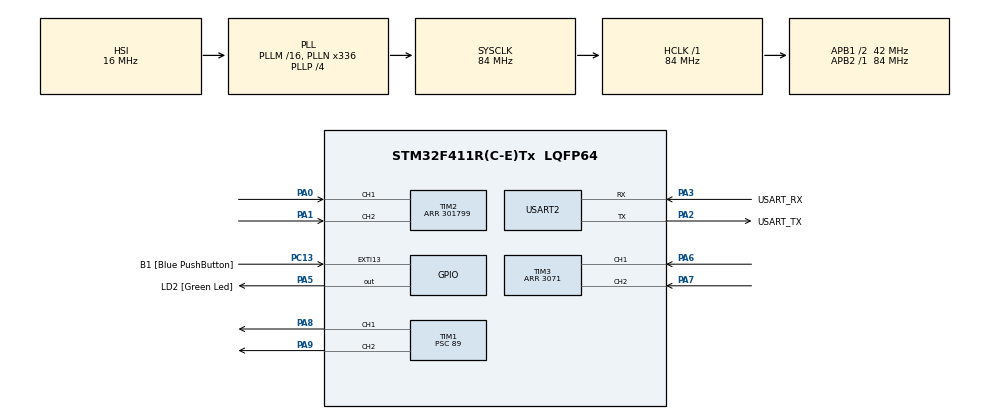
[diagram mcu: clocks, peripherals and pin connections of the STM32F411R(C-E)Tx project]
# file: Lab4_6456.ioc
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Mcu.Family=STM32F4
Mcu.Name=STM32F411R(C-E)Tx
Mcu.Package=LQFP64
Mcu.UserConstants=qei_period,64512
NVIC.PriorityGroup=NVIC_PRIORITYGROUP_0
PA0-WKUP.Signal=S_TIM2_CH1_ETR
PA1.Signal=S_TIM2_CH2
PA13.GPIO_Label=TMS
PA13.Mode=Trace_Asynchronous_SW
PA13.Signal=SYS_JTMS-SWDIO
PA14.GPIO_Label=TCK
PA14.Mode=Trace_Asynchronous_SW
PA14.Signal=SYS_JTCK-SWCLK
PA2.GPIO_Label=USART_TX
PA2.Mode=Asynchronous
PA2.Signal=USART2_TX
PA3.GPIO_Label=USART_RX
PA3.Mode=Asynchronous
PA3.Signal=USART2_RX
PA5.GPIO_Label=LD2 [Green Led]
PA5.Signal=GPIO_Output
PA6.Signal=S_TIM3_CH1
PA7.Signal=S_TIM3_CH2
PA8.Signal=S_TIM1_CH1
PA9.Signal=S_TIM1_CH2
PB3.GPIO_Label=SWO
PB3.Mode=Trace_Asynchronous_SW
PB3.Signal=SYS_JTDO-SWO
PC13-ANTI_TAMP.GPIO_Label=B1 [Blue PushButton]
PC13-ANTI_TAMP.GPIO_ModeDefaultEXTI=GPIO_MODE_IT_FALLING
PC13-ANTI_TAMP.Signal=GPXTI13
PC14-OSC32_IN.Mode=LSE-External-Oscillator
PC14-OSC32_IN.Signal=RCC_OSC32_IN
PC15-OSC32_OUT.Mode=LSE-External-Oscillator
PC15-OSC32_OUT.Signal=RCC_OSC32_OUT
PH0\ -\ OSC_IN.Mode=HSE-External-Clock-Source
PH0\ -\ OSC_IN.Signal=RCC_OSC_IN
PH1\ -\ OSC_OUT.Mode=HSE-External-Clock-Source
PH1\ -\ OSC_OUT.Signal=RCC_OSC_OUT
ProjectManager.HeapSize=0x200
ProjectManager.StackSize=0x400
ProjectManager.TargetToolchain=STM32CubeIDE
RCC.48MHZClocksFreq_Value=84000000
RCC.AHBFreq_Value=84000000
RCC.APB1CLKDivider=RCC_HCLK_DIV2
RCC.APB1Freq_Value=42000000
RCC.APB1TimFreq_Value=84000000
RCC.APB2Freq_Value=84000000
RCC.APB2TimFreq_Value=84000000
RCC.CortexFreq_Value=84000000
RCC.FLatency-AdvancedSettings=FLASH_LATENCY_2
RCC.HCLKFreq_Value=84000000
RCC.HSE_VALUE=8000000
RCC.HSI_VALUE=16000000
RCC.PLLN=336
RCC.PLLP=RCC_PLLP_DIV4
RCC.SYSCLKFreq_VALUE=84000000
RCC.SYSCLKSource=RCC_SYSCLKSOURCE_PLLCLK
RCC.VCOOutputFreq_Value=336000000
SH.S_TIM1_CH1.0=TIM1_CH1,PWM Generation1 CH1
SH.S_TIM1_CH2.0=TIM1_CH2,PWM Generation2 CH2
SH.S_TIM2_CH1_ETR.0=TIM2_CH1,Encoder_Interface
SH.S_TIM2_CH2.0=TIM2_CH2,Encoder_Interface
SH.S_TIM3_CH1.0=TIM3_CH1,Encoder_Interface
SH.S_TIM3_CH2.0=TIM3_CH2,Encoder_Interface
TIM1.Channel-PWM\ Generation1\ CH1=TIM_CHANNEL_1
TIM1.Channel-PWM\ Generation2\ CH2=TIM_CHANNEL_2
TIM1.Period=999
TIM1.Prescaler=89
TIM1.Pulse-PWM\ Generation1\ CH1=0
TIM1.Pulse-PWM\ Generation2\ CH2=500
TIM2.EncoderMode=TIM_ENCODERMODE_TI12
TIM2.Period=301799
TIM3.EncoderMode=TIM_ENCODERMODE_TI12
TIM3.Period=3071
USART2.VirtualMode=VM_ASYNC
VP_TIM1_VS_ClockSourceINT.Mode=Internal
board=NUCLEO-F411RE

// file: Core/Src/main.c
/* USER CODE BEGIN Header */
/**
  ******************************************************************************
  * @file           : main.c
  * @brief          : Main program body
  ******************************************************************************
  * @attention
  *
  * Copyright (c) 2023 STMicroelectronics.
  * All rights reserved.
  *
  * This software is licensed under terms that can be found in the LICENSE file
  * in the root directory of this software component.
  * If no LICENSE file comes with this software, it is provided AS-IS.
  *
  ******************************************************************************
  */
/* USER CODE END Header */
#include "main.h"

/* USER CODE BEGIN Includes */
#include "arm_math.h"
/* USER CODE END Includes */

TIM_HandleTypeDef htim1;
TIM_HandleTypeDef htim2;
TIM_HandleTypeDef htim3;

UART_HandleTypeDef huart2;

/* USER CODE BEGIN PV */
/*------------------ For PWM -----------------------*/
uint32_t PA8duty = 500;
uint32_t PA9duty = 500;
/*------------------ For QEI -----------------------*/
int32_t qeiread = 0;
int32_t post_qeiread = 0;
/*------------------For calculating -----------------------*/
float position;
float vcontrol;
float set_position;
/*------------------Set PID -----------------------*/
arm_pid_instance_f32 PID = {0};

/* USER CODE END PV */

void SystemClock_Config(void);
static void MX_GPIO_Init(void);
static void MX_USART2_UART_Init(void);
static void MX_TIM1_Init(void);
static void MX_TIM2_Init(void);
static void MX_TIM3_Init(void);

int main(void)
{

  /* MCU Configuration--------------------------------------------------------*/

  /* Reset of all peripherals, Initializes the Flash interface and the Systick. */
  HAL_Init();

  /* Configure the system clock */
  SystemClock_Config();

  /* Initialize all configured peripherals */
  MX_GPIO_Init();
  MX_USART2_UART_Init();
  MX_TIM1_Init();
  MX_TIM2_Init();
  MX_TIM3_Init();
  /* USER CODE BEGIN 2 */
/*------------------Start timer1 as pwm-----------------------*/
  HAL_TIM_Base_Start(&htim1);
  HAL_TIM_PWM_Start(&htim1, TIM_CHANNEL_1);
  HAL_TIM_PWM_Start(&htim1, TIM_CHANNEL_2);

/*------------------Start time2 QEIs -----------------------*/
  HAL_TIM_Encoder_Start(&htim2, TIM_CHANNEL_1|TIM_CHANNEL_2);

/*------------------Set PID -----------------------*/
  PID.Kp = 0.7;
  PID.Ki = 0;
  PID.Kd = 0;
  arm_pid_init_f32(&PID, 0);

  /* USER CODE END 2 */

  /* Infinite loop */
  while (1)
  {

    /* USER CODE BEGIN 3 */
	  qeiread = __HAL_TIM_GET_COUNTER(&htim2); //read

	  if(post_qeiread-qeiread <= -10000) qeiread = 0;			//for underflow
	  if(post_qeiread-qeiread >= 10000) qeiread = 307199;		//for overflow*/

	  position = qeiread*(36000.0/307200.0); //calculate angle

	  static uint32_t timestamp = 0;
	  if(timestamp < HAL_GetTick()){
		  timestamp = HAL_GetTick()+10;

		 vcontrol = arm_pid_f32(&PID,set_position-position); //use tracking error to get control feedback

		 if(vcontrol>0) //control motor by using control feedback
		 {
			 PA8duty = 0;
			 PA9duty = (vcontrol/3.3)*1000;
			 if(PA9duty <= 0) PA9duty = 0;
			 else if(PA9duty >= 100) PA9duty = 100;
		 }
		 else if(vcontrol<0) //also control motor by using control feedback
		 {
		 	PA8duty = -(vcontrol/3.3)*1000;
		 	PA9duty = 0;
		 	if(PA8duty <= 0) PA9duty = 0;
		 	else if(PA8duty >= 100) PA9duty = 100;
		 }
	  }
	  __HAL_TIM_SET_COMPARE(&htim1,TIM_CHANNEL_1,PA8duty); //use the control value
	  __HAL_TIM_SET_COMPARE(&htim1,TIM_CHANNEL_2,PA9duty); //use the control value

	 post_qeiread = qeiread; //collect post QEI value to protect overflow and underflow
  }
  /* USER CODE END 3 */
}

void SystemClock_Config(void)
{
  RCC_OscInitTypeDef RCC_OscInitStruct = {0};
  RCC_ClkInitTypeDef RCC_ClkInitStruct = {0};

  /** Configure the main internal regulator output voltage
  */
  __HAL_RCC_PWR_CLK_ENABLE();
  __HAL_PWR_VOLTAGESCALING_CONFIG(PWR_REGULATOR_VOLTAGE_SCALE1);

  /** Initializes the RCC Oscillators according to the specified parameters
  * in the RCC_OscInitTypeDef structure.
  */
  RCC_OscInitStruct.OscillatorType = RCC_OSCILLATORTYPE_HSI;
  RCC_OscInitStruct.HSIState = RCC_HSI_ON;
  RCC_OscInitStruct.HSICalibrationValue = RCC_HSICALIBRATION_DEFAULT;
  RCC_OscInitStruct.PLL.PLLState = RCC_PLL_ON;
  RCC_OscInitStruct.PLL.PLLSource = RCC_PLLSOURCE_HSI;
  RCC_OscInitStruct.PLL.PLLM = 16;
  RCC_OscInitStruct.PLL.PLLN = 336;
  RCC_OscInitStruct.PLL.PLLP = RCC_PLLP_DIV4;
  RCC_OscInitStruct.PLL.PLLQ = 4;
  if (HAL_RCC_OscConfig(&RCC_OscInitStruct) != HAL_OK)
  {
    Error_Handler();
  }

  /** Initializes the CPU, AHB and APB buses clocks
  */
  RCC_ClkInitStruct.ClockType = RCC_CLOCKTYPE_HCLK|RCC_CLOCKTYPE_SYSCLK
                              |RCC_CLOCKTYPE_PCLK1|RCC_CLOCKTYPE_PCLK2;
  RCC_ClkInitStruct.SYSCLKSource = RCC_SYSCLKSOURCE_PLLCLK;
  RCC_ClkInitStruct.AHBCLKDivider = RCC_SYSCLK_DIV1;
  RCC_ClkInitStruct.APB1CLKDivider = RCC_HCLK_DIV2;
  RCC_ClkInitStruct.APB2CLKDivider = RCC_HCLK_DIV1;

  if (HAL_RCC_ClockConfig(&RCC_ClkInitStruct, FLASH_LATENCY_2) != HAL_OK)
  {
    Error_Handler();
  }
}

static void MX_TIM1_Init(void)
{

  TIM_ClockConfigTypeDef sClockSourceConfig = {0};
  TIM_MasterConfigTypeDef sMasterConfig = {0};
  TIM_OC_InitTypeDef sConfigOC = {0};
  TIM_BreakDeadTimeConfigTypeDef sBreakDeadTimeConfig = {0};

  htim1.Instance = TIM1;
  htim1.Init.Prescaler = 89;
  htim1.Init.CounterMode = TIM_COUNTERMODE_UP;
  htim1.Init.Period = 999;
  htim1.Init.ClockDivision = TIM_CLOCKDIVISION_DIV1;
  htim1.Init.RepetitionCounter = 0;
  htim1.Init.AutoReloadPreload = TIM_AUTORELOAD_PRELOAD_DISABLE;
  if (HAL_TIM_Base_Init(&htim1) != HAL_OK)
  {
    Error_Handler();
  }
  sClockSourceConfig.ClockSource = TIM_CLOCKSOURCE_INTERNAL;
  if (HAL_TIM_ConfigClockSource(&htim1, &sClockSourceConfig) != HAL_OK)
  {
    Error_Handler();
  }
  if (HAL_TIM_PWM_Init(&htim1) != HAL_OK)
  {
    Error_Handler();
  }
  sMasterConfig.MasterOutputTrigger = TIM_TRGO_RESET;
  sMasterConfig.MasterSlaveMode = TIM_MASTERSLAVEMODE_DISABLE;
  if (HAL_TIMEx_MasterConfigSynchronization(&htim1, &sMasterConfig) != HAL_OK)
  {
    Error_Handler();
  }
  sConfigOC.OCMode = TIM_OCMODE_PWM1;
  sConfigOC.Pulse = 0;
  sConfigOC.OCPolarity = TIM_OCPOLARITY_HIGH;
  sConfigOC.OCNPolarity = TIM_OCNPOLARITY_HIGH;
  sConfigOC.OCFastMode = TIM_OCFAST_DISABLE;
  sConfigOC.OCIdleState = TIM_OCIDLESTATE_RESET;
  sConfigOC.OCNIdleState = TIM_OCNIDLESTATE_RESET;
  if (HAL_TIM_PWM_ConfigChannel(&htim1, &sConfigOC, TIM_CHANNEL_1) != HAL_OK)
  {
    Error_Handler();
  }
  sConfigOC.Pulse = 500;
  if (HAL_TIM_PWM_ConfigChannel(&htim1, &sConfigOC, TIM_CHANNEL_2) != HAL_OK)
  {
    Error_Handler();
  }
  sBreakDeadTimeConfig.OffStateRunMode = TIM_OSSR_DISABLE;
  sBreakDeadTimeConfig.OffStateIDLEMode = TIM_OSSI_DISABLE;
  sBreakDeadTimeConfig.LockLevel = TIM_LOCKLEVEL_OFF;
  sBreakDeadTimeConfig.DeadTime = 0;
  sBreakDeadTimeConfig.BreakState = TIM_BREAK_DISABLE;
  sBreakDeadTimeConfig.BreakPolarity = TIM_BREAKPOLARITY_HIGH;
  sBreakDeadTimeConfig.AutomaticOutput = TIM_AUTOMATICOUTPUT_DISABLE;
  if (HAL_TIMEx_ConfigBreakDeadTime(&htim1, &sBreakDeadTimeConfig) != HAL_OK)
  {
    Error_Handler();
  }
  HAL_TIM_MspPostInit(&htim1);

}

static void MX_TIM2_Init(void)
{

  TIM_Encoder_InitTypeDef sConfig = {0};
  TIM_MasterConfigTypeDef sMasterConfig = {0};

  htim2.Instance = TIM2;
  htim2.Init.Prescaler = 0;
  htim2.Init.CounterMode = TIM_COUNTERMODE_UP;
  htim2.Init.Period = 301799;
  htim2.Init.ClockDivision = TIM_CLOCKDIVISION_DIV1;
  htim2.Init.AutoReloadPreload = TIM_AUTORELOAD_PRELOAD_DISABLE;
  sConfig.EncoderMode = TIM_ENCODERMODE_TI12;
  sConfig.IC1Polarity = TIM_ICPOLARITY_RISING;
  sConfig.IC1Selection = TIM_ICSELECTION_DIRECTTI;
  sConfig.IC1Prescaler = TIM_ICPSC_DIV1;
  sConfig.IC1Filter = 0;
  sConfig.IC2Polarity = TIM_ICPOLARITY_RISING;
  sConfig.IC2Selection = TIM_ICSELECTION_DIRECTTI;
  sConfig.IC2Prescaler = TIM_ICPSC_DIV1;
  sConfig.IC2Filter = 0;
  if (HAL_TIM_Encoder_Init(&htim2, &sConfig) != HAL_OK)
  {
    Error_Handler();
  }
  sMasterConfig.MasterOutputTrigger = TIM_TRGO_RESET;
  sMasterConfig.MasterSlaveMode = TIM_MASTERSLAVEMODE_DISABLE;
  if (HAL_TIMEx_MasterConfigSynchronization(&htim2, &sMasterConfig) != HAL_OK)
  {
    Error_Handler();
  }

}

static void MX_TIM3_Init(void)
{

  TIM_Encoder_InitTypeDef sConfig = {0};
  TIM_MasterConfigTypeDef sMasterConfig = {0};

  htim3.Instance = TIM3;
  htim3.Init.Prescaler = 0;
  htim3.Init.CounterMode = TIM_COUNTERMODE_UP;
  htim3.Init.Period = 3071;
  htim3.Init.ClockDivision = TIM_CLOCKDIVISION_DIV1;
  htim3.Init.AutoReloadPreload = TIM_AUTORELOAD_PRELOAD_DISABLE;
  sConfig.EncoderMode = TIM_ENCODERMODE_TI12;
  sConfig.IC1Polarity = TIM_ICPOLARITY_RISING;
  sConfig.IC1Selection = TIM_ICSELECTION_DIRECTTI;
  sConfig.IC1Prescaler = TIM_ICPSC_DIV1;
  sConfig.IC1Filter = 0;
  sConfig.IC2Polarity = TIM_ICPOLARITY_RISING;
  sConfig.IC2Selection = TIM_ICSELECTION_DIRECTTI;
  sConfig.IC2Prescaler = TIM_ICPSC_DIV1;
  sConfig.IC2Filter = 0;
  if (HAL_TIM_Encoder_Init(&htim3, &sConfig) != HAL_OK)
  {
    Error_Handler();
  }
  sMasterConfig.MasterOutputTrigger = TIM_TRGO_RESET;
  sMasterConfig.MasterSlaveMode = TIM_MASTERSLAVEMODE_DISABLE;
  if (HAL_TIMEx_MasterConfigSynchronization(&htim3, &sMasterConfig) != HAL_OK)
  {
    Error_Handler();
  }

}

static void MX_USART2_UART_Init(void)
{

  huart2.Instance = USART2;
  huart2.Init.BaudRate = 115200;
  huart2.Init.WordLength = UART_WORDLENGTH_8B;
  huart2.Init.StopBits = UART_STOPBITS_1;
  huart2.Init.Parity = UART_PARITY_NONE;
  huart2.Init.Mode = UART_MODE_TX_RX;
  huart2.Init.HwFlowCtl = UART_HWCONTROL_NONE;
  huart2.Init.OverSampling = UART_OVERSAMPLING_16;
  if (HAL_UART_Init(&huart2) != HAL_OK)
  {
    Error_Handler();
  }

}

static void MX_GPIO_Init(void)
{
  GPIO_InitTypeDef GPIO_InitStruct = {0};

  /* GPIO Ports Clock Enable */
  __HAL_RCC_GPIOC_CLK_ENABLE();
  __HAL_RCC_GPIOH_CLK_ENABLE();
  __HAL_RCC_GPIOA_CLK_ENABLE();
  __HAL_RCC_GPIOB_CLK_ENABLE();

  /*Configure GPIO pin Output Level */
  HAL_GPIO_WritePin(LD2_GPIO_Port, LD2_Pin, GPIO_PIN_RESET);

  /*Configure GPIO pin : B1_Pin */
  GPIO_InitStruct.Pin = B1_Pin;
  GPIO_InitStruct.Mode = GPIO_MODE_IT_FALLING;
  GPIO_InitStruct.Pull = GPIO_NOPULL;
  HAL_GPIO_Init(B1_GPIO_Port, &GPIO_InitStruct);

  /*Configure GPIO pin : LD2_Pin */
  GPIO_InitStruct.Pin = LD2_Pin;
  GPIO_InitStruct.Mode = GPIO_MODE_OUTPUT_PP;
  GPIO_InitStruct.Pull = GPIO_NOPULL;
  GPIO_InitStruct.Speed = GPIO_SPEED_FREQ_LOW;
  HAL_GPIO_Init(LD2_GPIO_Port, &GPIO_InitStruct);

}

void Error_Handler(void)
{
  __disable_irq();
  while (1)
  {
  }
}
